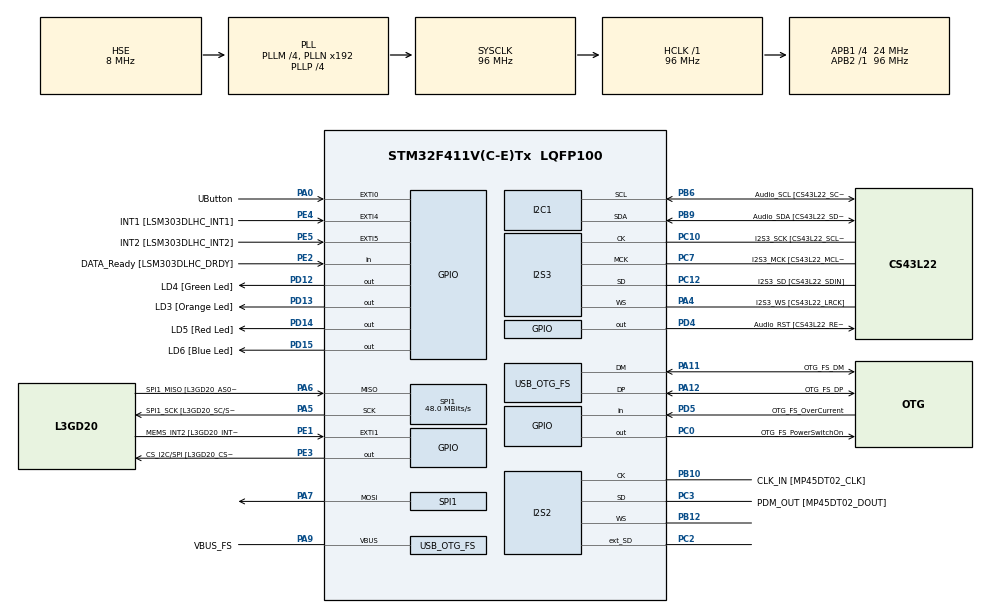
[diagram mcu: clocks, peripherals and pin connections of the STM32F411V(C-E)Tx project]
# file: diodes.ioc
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I2S2.AudioFreq=I2S_AUDIOFREQ_96K
I2S2.ErrorAudioFreq=0.15 %
I2S2.FullDuplexMode=I2S_FULLDUPLEXMODE_ENABLE
I2S2.Instance=SPI$Index
I2S2.RealAudioFreq=96.153 KHz
I2S2.VirtualMode=I2S_MODE_MASTER
I2S3.AudioFreq=I2S_AUDIOFREQ_96K
I2S3.ErrorAudioFreq=-6.99 %
I2S3.FullDuplexMode=I2S_FULLDUPLEXMODE_DISABLE
I2S3.Instance=SPI$Index
I2S3.RealAudioFreq=89.285 KHz
I2S3.VirtualMode=I2S_MODE_MASTER
Mcu.Family=STM32F4
Mcu.Name=STM32F411V(C-E)Tx
Mcu.Package=LQFP100
NVIC.EXTI0_IRQn=true\:0\:0\:false\:false\:true\:true\:true\:true
NVIC.OTG_FS_IRQn=true\:0\:0\:false\:false\:true\:true\:true\:true
NVIC.PriorityGroup=NVIC_PRIORITYGROUP_0
PA0-WKUP.GPIO_Label=UButton
PA0-WKUP.Signal=GPXTI0
PA10.GPIO_Label=OTG_FS_ID
PA10.Signal=USB_OTG_FS_ID
PA11.GPIO_Label=OTG_FS_DM
PA11.Mode=Host_Only
PA11.Signal=USB_OTG_FS_DM
PA12.GPIO_Label=OTG_FS_DP
PA12.Mode=Host_Only
PA12.Signal=USB_OTG_FS_DP
PA13.GPIO_Label=SWDIO
PA13.Mode=Serial_Wire
PA13.Signal=SYS_JTMS-SWDIO
PA14.GPIO_Label=SWCLK
PA14.Mode=Serial_Wire
PA14.Signal=SYS_JTCK-SWCLK
PA4.GPIO_Label=I2S3_WS [CS43L22_LRCK]
PA4.GPIO_Mode=GPIO_MODE_AF_PP
PA4.GPIO_PuPd=GPIO_NOPULL
PA4.GPIO_Speed=GPIO_SPEED_FREQ_LOW
PA4.Mode=Half_Duplex_Master
PA4.Signal=I2S3_WS
PA5.GPIO_Label=SPI1_SCK [L3GD20_SC/SPC]
PA5.Mode=Full_Duplex_Master
PA5.Signal=SPI1_SCK
PA6.GPIO_Label=SPI1_MISO [L3GD20_AS0/SDO]
PA6.Mode=Full_Duplex_Master
PA6.Signal=SPI1_MISO
PA7.Mode=Full_Duplex_Master
PA7.Signal=SPI1_MOSI
PA9.GPIO_Label=VBUS_FS
PA9.Mode=Activate_VBUS
PA9.Signal=USB_OTG_FS_VBUS
PB10.GPIO_Label=CLK_IN [MP45DT02_CLK]
PB10.Mode=Full_Duplex_Master
PB10.Signal=I2S2_CK
PB12.Mode=Full_Duplex_Master
PB12.Signal=I2S2_WS
PB3.GPIO_Label=SWO
PB3.Signal=SYS_JTDO-SWO
PB6.GPIO_Label=Audio_SCL [CS43L22_SCL]
PB6.GPIO_Mode=GPIO_MODE_AF_OD
PB6.GPIO_Pu=GPIO_PULLUP
PB6.GPIO_PuPd=GPIO_NOPULL
PB6.GPIO_Speed=GPIO_SPEED_FREQ_LOW
PB6.Mode=I2C
PB6.Signal=I2C1_SCL
PB9.GPIO_Label=Audio_SDA [CS43L22_SDA]
PB9.GPIO_Mode=GPIO_MODE_AF_OD
PB9.GPIO_Pu=GPIO_PULLUP
PB9.GPIO_PuPd=GPIO_NOPULL
PB9.GPIO_Speed=GPIO_SPEED_FREQ_LOW
PB9.Mode=I2C
PB9.Signal=I2C1_SDA
PC0.GPIO_Label=OTG_FS_PowerSwitchOn
PC0.PinState=GPIO_PIN_SET
PC0.Signal=GPIO_Output
PC10.GPIO_Label=I2S3_SCK [CS43L22_SCLK]
PC10.GPIO_Mode=GPIO_MODE_AF_PP
PC10.GPIO_PuPd=GPIO_NOPULL
PC10.GPIO_Speed=GPIO_SPEED_FREQ_LOW
PC10.Mode=Half_Duplex_Master
PC10.Signal=I2S3_CK
PC12.GPIO_Label=I2S3_SD [CS43L22_SDIN]
PC12.GPIO_Mode=GPIO_MODE_AF_PP
PC12.GPIO_PuPd=GPIO_NOPULL
PC12.GPIO_Speed=GPIO_SPEED_FREQ_LOW
PC12.Mode=Half_Duplex_Master
PC12.Signal=I2S3_SD
PC14-OSC32_IN.GPIO_Label=PC14-OSC32_IN
PC14-OSC32_IN.Mode=LSE-External-Oscillator
PC14-OSC32_IN.Signal=RCC_OSC32_IN
PC15-OSC32_OUT.GPIO_Label=PC15-OSC32_OUT
PC15-OSC32_OUT.Mode=LSE-External-Oscillator
PC15-OSC32_OUT.Signal=RCC_OSC32_OUT
PC2.Mode=Full_Duplex_Master
PC2.Signal=I2S2_ext_SD
PC3.GPIO_Label=PDM_OUT [MP45DT02_DOUT]
PC3.Mode=Full_Duplex_Master
PC3.Signal=I2S2_SD
PC7.GPIO_Label=I2S3_MCK [CS43L22_MCLK]
PC7.GPIO_Mode=GPIO_MODE_AF_PP
PC7.GPIO_PuPd=GPIO_NOPULL
PC7.GPIO_Speed=GPIO_SPEED_FREQ_LOW
PC7.Mode=Master_Clock_Activated
PC7.Signal=I2S3_MCK
PD12.GPIO_Label=LD4 [Green Led]
PD12.GPIO_PuPd=GPIO_NOPULL
PD12.GPIO_Speed=GPIO_SPEED_FREQ_LOW
PD12.Signal=GPIO_Output
PD13.GPIO_Label=LD3 [Orange Led]
PD13.GPIO_PuPd=GPIO_NOPULL
PD13.GPIO_Speed=GPIO_SPEED_FREQ_LOW
PD13.Signal=GPIO_Output
PD14.GPIO_Label=LD5 [Red Led]
PD14.GPIO_PuPd=GPIO_NOPULL
PD14.GPIO_Speed=GPIO_SPEED_FREQ_LOW
PD14.Signal=GPIO_Output
PD15.GPIO_Label=LD6 [Blue Led]
PD15.GPIO_PuPd=GPIO_NOPULL
PD15.GPIO_Speed=GPIO_SPEED_FREQ_LOW
PD15.Signal=GPIO_Output
PD4.GPIO_Label=Audio_RST [CS43L22_RESET]
PD4.Signal=GPIO_Output
PD5.GPIO_Label=OTG_FS_OverCurrent
PD5.Signal=GPIO_Input
PE1.GPIO_Label=MEMS_INT2 [L3GD20_INT2]
PE1.GPIO_ModeDefaultEXTI=GPIO_MODE_EVT_RISING
PE1.Signal=GPXTI1
PE2.GPIO_Label=DATA_Ready [LSM303DLHC_DRDY]
PE2.Signal=GPIO_Input
PE3.GPIO_Label=CS_I2C/SPI [L3GD20_CS_I2C/SPI]
PE3.Signal=GPIO_Output
PE4.GPIO_Label=INT1 [LSM303DLHC_INT1]
PE4.GPIO_ModeDefaultEXTI=GPIO_MODE_EVT_RISING
PE4.Signal=GPXTI4
PE5.GPIO_Label=INT2 [LSM303DLHC_INT2]
PE5.GPIO_ModeDefaultEXTI=GPIO_MODE_EVT_RISING
PE5.Signal=GPXTI5
PH0\ -\ OSC_IN.GPIO_Label=PH0-OSC_IN
PH0\ -\ OSC_IN.Mode=HSE-External-Oscillator
PH0\ -\ OSC_IN.Signal=RCC_OSC_IN
PH1\ -\ OSC_OUT.GPIO_Label=PH1-OSC_OUT
PH1\ -\ OSC_OUT.Mode=HSE-External-Oscillator
PH1\ -\ OSC_OUT.Signal=RCC_OSC_OUT
ProjectManager.HeapSize=0x200
ProjectManager.StackSize=0x400
ProjectManager.TargetToolchain=STM32CubeIDE
RCC.48MHZClocksFreq_Value=48000000
RCC.AHBFreq_Value=96000000
RCC.APB1CLKDivider=RCC_HCLK_DIV4
RCC.APB1Freq_Value=24000000
RCC.APB1TimFreq_Value=48000000
RCC.APB2Freq_Value=96000000
RCC.APB2TimFreq_Value=96000000
RCC.CortexFreq_Value=96000000
RCC.HCLKFreq_Value=96000000
RCC.HSE_VALUE=8000000
RCC.HSI_VALUE=16000000
RCC.PLLI2SM=5
RCC.PLLI2SN=200
RCC.PLLM=4
RCC.PLLP=RCC_PLLP_DIV4
RCC.PLLQ=8
RCC.SYSCLKFreq_VALUE=96000000
RCC.SYSCLKSource=RCC_SYSCLKSOURCE_PLLCLK
RCC.VCOOutputFreq_Value=384000000
SPI1.CalculateBaudRate=48.0 MBits/s
SPI1.Direction=SPI_DIRECTION_2LINES
SPI1.Mode=SPI_MODE_MASTER
SPI1.VirtualType=VM_MASTER
USB_HOST.BSP.number=1
USB_HOST.USBH_HandleTypeDef=hUsbHostFS
USB_HOST.VirtualModeFS=Cdc
USB_HOST0.BSP.STBoard=false
USB_HOST0.BSP.api=Unknown
USB_HOST0.BSP.instance=PC0
USB_HOST0.BSP.ip=GPIO
USB_HOST0.BSP.mode=Output
USB_HOST0.BSP.name=Drive_VBUS_FS
USB_HOST0.BSP.solution=PC0
USB_OTG_FS.VirtualMode=Host_Only
USB_OTG_FS.phy_itface=HCD_PHY_EMBEDDED
VP_USB_HOST_VS_USB_HOST_CDC_FS.Mode=CDC_FS
board=STM32F411E-DISCO

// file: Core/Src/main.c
/* USER CODE BEGIN Header */
/**
  ******************************************************************************
  * @file           : main.c
  * @brief          : Main program body
  ******************************************************************************
  * @attention
  *
  * Copyright (c) 2023 STMicroelectronics.
  * All rights reserved.
  *
  * This software is licensed under terms that can be found in the LICENSE file
  * in the root directory of this software component.
  * If no LICENSE file comes with this software, it is provided AS-IS.
  *
  ******************************************************************************
  */
/* USER CODE END Header */
#include "main.h"
#include "i2c.h"
#include "i2s.h"
#include "spi.h"
#include "usb_host.h"
#include "gpio.h"

void SystemClock_Config(void);
void PeriphCommonClock_Config(void);
void MX_USB_HOST_Process(void);

/* USER CODE BEGIN 0 */
uint16_t pins[] = {GPIO_PIN_12, GPIO_PIN_13, GPIO_PIN_14, GPIO_PIN_15};
int index = 0;
int direction = 1;
volatile int button_is_pressed = 0;

void HAL_GPIO_EXTI_Callback(uint16_t GPIO_Pin) {
	  if(GPIO_Pin == UButton_Pin)
	  {
	    static uint32_t last_change_tick;
	    if(HAL_GetTick() - last_change_tick < 50 )
	    {
	     return;
	    }
	    last_change_tick = HAL_GetTick();
	    if(button_is_pressed)
	    {
	     button_is_pressed = 0;
	     direction = -direction;
	    } else {
	     button_is_pressed = 1;
	    }
	  }
}

/* USER CODE END 0 */

int main(void)
{

  /* MCU Configuration--------------------------------------------------------*/

  /* Reset of all peripherals, Initializes the Flash interface and the Systick. */
  HAL_Init();

  /* Configure the system clock */
  SystemClock_Config();

/* Configure the peripherals common clocks */
  PeriphCommonClock_Config();

  /* Initialize all configured peripherals */
  MX_GPIO_Init();
  MX_I2C1_Init();
  MX_I2S2_Init();
  MX_I2S3_Init();
  MX_USB_HOST_Init();
  MX_SPI1_Init();

  /* Infinite loop */
  /* USER CODE BEGIN WHILE */
  while (1)
    {
  	  if (button_is_pressed)
  	  {
  		  direction = -direction;
  		  button_is_pressed = 0;
  	  }

        HAL_GPIO_TogglePin(GPIOD, pins[index]);
        HAL_Delay(500);
        HAL_GPIO_TogglePin(GPIOD, pins[index]);

        index += direction;
        if (index >= 4) index = 0;
        else if (index < 0) index = 3;

    /* USER CODE END WHILE */
    MX_USB_HOST_Process();

    }
}

void SystemClock_Config(void)
{
  RCC_OscInitTypeDef RCC_OscInitStruct = {0};
  RCC_ClkInitTypeDef RCC_ClkInitStruct = {0};

  /** Configure the main internal regulator output voltage
  */
  __HAL_RCC_PWR_CLK_ENABLE();
  __HAL_PWR_VOLTAGESCALING_CONFIG(PWR_REGULATOR_VOLTAGE_SCALE1);

  /** Initializes the RCC Oscillators according to the specified parameters
  * in the RCC_OscInitTypeDef structure.
  */
  RCC_OscInitStruct.OscillatorType = RCC_OSCILLATORTYPE_HSE;
  RCC_OscInitStruct.HSEState = RCC_HSE_ON;
  RCC_OscInitStruct.PLL.PLLState = RCC_PLL_ON;
  RCC_OscInitStruct.PLL.PLLSource = RCC_PLLSOURCE_HSE;
  RCC_OscInitStruct.PLL.PLLM = 4;
  RCC_OscInitStruct.PLL.PLLN = 192;
  RCC_OscInitStruct.PLL.PLLP = RCC_PLLP_DIV4;
  RCC_OscInitStruct.PLL.PLLQ = 8;
  if (HAL_RCC_OscConfig(&RCC_OscInitStruct) != HAL_OK)
  {
    Error_Handler();
  }

  /** Initializes the CPU, AHB and APB buses clocks
  */
  RCC_ClkInitStruct.ClockType = RCC_CLOCKTYPE_HCLK|RCC_CLOCKTYPE_SYSCLK
                              |RCC_CLOCKTYPE_PCLK1|RCC_CLOCKTYPE_PCLK2;
  RCC_ClkInitStruct.SYSCLKSource = RCC_SYSCLKSOURCE_PLLCLK;
  RCC_ClkInitStruct.AHBCLKDivider = RCC_SYSCLK_DIV1;
  RCC_ClkInitStruct.APB1CLKDivider = RCC_HCLK_DIV4;
  RCC_ClkInitStruct.APB2CLKDivider = RCC_HCLK_DIV1;

  if (HAL_RCC_ClockConfig(&RCC_ClkInitStruct, FLASH_LATENCY_3) != HAL_OK)
  {
    Error_Handler();
  }
}

void PeriphCommonClock_Config(void)
{
  RCC_PeriphCLKInitTypeDef PeriphClkInitStruct = {0};

  /** Initializes the peripherals clock
  */
  PeriphClkInitStruct.PeriphClockSelection = RCC_PERIPHCLK_I2S;
  PeriphClkInitStruct.PLLI2S.PLLI2SN = 200;
  PeriphClkInitStruct.PLLI2S.PLLI2SM = 5;
  PeriphClkInitStruct.PLLI2S.PLLI2SR = 2;
  if (HAL_RCCEx_PeriphCLKConfig(&PeriphClkInitStruct) != HAL_OK)
  {
    Error_Handler();
  }
}

void Error_Handler(void)
{
  __disable_irq();
  while (1)
  {
  }
}
